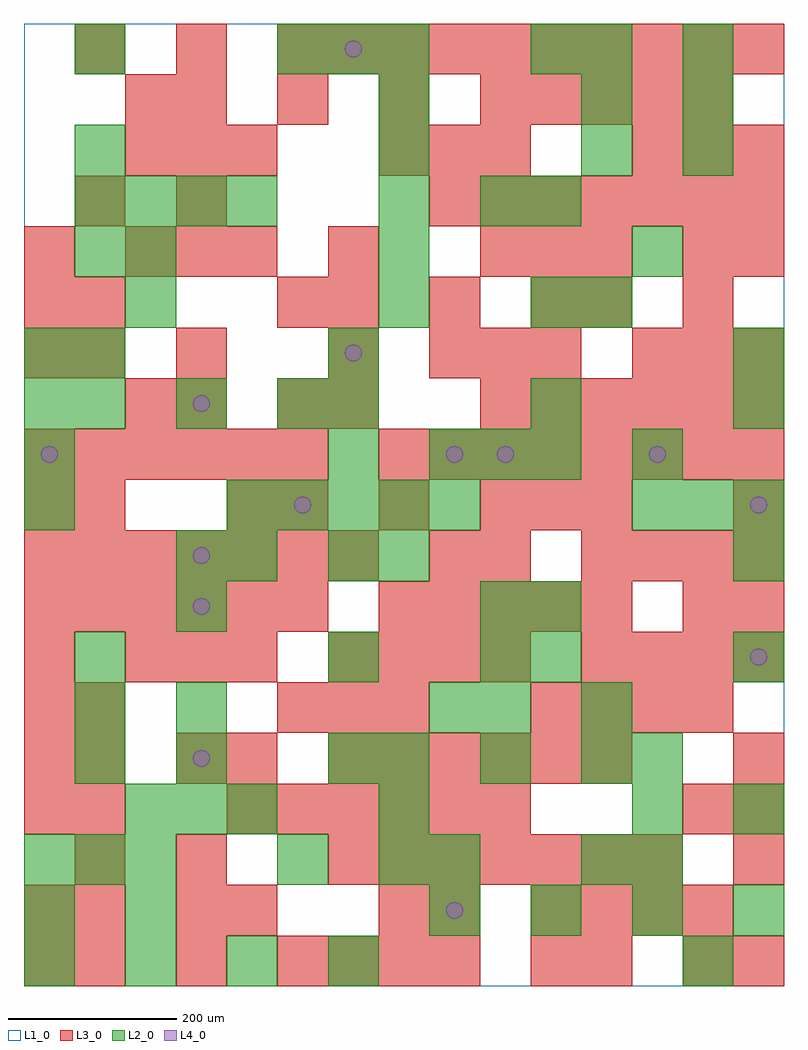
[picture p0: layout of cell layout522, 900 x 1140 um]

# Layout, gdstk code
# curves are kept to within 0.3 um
import gdstk
lib = gdstk.Library(unit=1e-6, precision=1e-09)
def R(c, l, rs):  # rectangles x0, y0, x1, y1
    for r in rs: c.add(gdstk.rectangle(r[:2], r[2:], *l))
def A(c, l, x, y, w, h, nx, ny, dx, dy):  # array of equal rectangles
    R(c, l, [(x+i*dx, y+j*dy, x+i*dx+w, y+j*dy+h) for i in range(nx) for j in range(ny)])
def P(c, l, *ps):  # polygons
    for p in ps: c.add(gdstk.Polygon(p, *l))
L1_0 = (1, 0)
L2_0 = (2, 0)
L3_0 = (3, 0)
L4_0 = (4, 0)

layout522 = lib.new_cell('layout522')
R(layout522, L1_0, [(0,0,900,1140)])
A(layout522, L2_0, 0, 0, 60, 60, 4, 1, 120, 0)
A(layout522, L2_0, 480, 60, 60, 60, 4, 1, 120, 0)
A(layout522, L2_0, 0, 120, 60, 60, 3, 1, 60, 0)
A(layout522, L2_0, 720, 120, 60, 60, 1, 3, 0, 60)
A(layout522, L2_0, 120, 180, 60, 60, 3, 1, 60, 0)
A(layout522, L2_0, 420, 180, 60, 60, 1, 3, 0, 300)
A(layout522, L2_0, 60, 240, 60, 60, 1, 3, 0, 60)
A(layout522, L2_0, 360, 240, 60, 60, 1, 5, 0, 120)
A(layout522, L2_0, 420, 240, 60, 60, 3, 1, 120, 0)
A(layout522, L2_0, 540, 300, 60, 60, 1, 3, 0, 60)
A(layout522, L2_0, 0, 540, 60, 60, 1, 4, 0, 60)
A(layout522, L2_0, 240, 540, 60, 60, 5, 1, 60, 0)
A(layout522, L2_0, 720, 540, 60, 60, 3, 1, 60, 0)
A(layout522, L2_0, 480, 600, 60, 60, 3, 1, 60, 0)
A(layout522, L2_0, 60, 660, 60, 60, 3, 1, 120, 0)
A(layout522, L2_0, 360, 660, 60, 60, 3, 1, 240, 0)
A(layout522, L2_0, 60, 720, 60, 60, 1, 4, 0, 120)
A(layout522, L2_0, 120, 840, 60, 60, 3, 1, 300, 0)
A(layout522, L2_0, 60, 900, 60, 60, 4, 1, 60, 0)
A(layout522, L2_0, 420, 900, 60, 60, 1, 3, 0, 60)
A(layout522, L2_0, 660, 960, 60, 60, 1, 3, 0, 60)
A(layout522, L2_0, 780, 960, 60, 60, 1, 3, 0, 60)
A(layout522, L2_0, 300, 1080, 60, 60, 3, 1, 60, 0)
R(layout522, L2_0, [(780,0,840,60), (0,60,60,120), (120,60,180,120), (300,120,360,180), (420,120,480,180), (480,120,540,180), (660,120,720,180), (840,180,900,240), (180,240,240,300), (180,300,240,360), (480,300,540,360), (660,300,720,360), (600,360,660,420), (840,360,900,420), (180,420,240,480), (600,420,660,480), (180,480,240,540), (240,480,300,540), (840,480,900,540), (720,600,780,660), (840,720,900,780), (120,780,180,840), (600,780,660,840), (660,780,720,840), (540,900,600,960), (600,900,660,960), (600,1080,660,1140)])
A(layout522, L3_0, 60, 0, 60, 60, 3, 2, 120, 1080)
A(layout522, L3_0, 360, 0, 60, 60, 3, 1, 60, 0)
A(layout522, L3_0, 60, 60, 60, 60, 1, 5, 0, 60)
A(layout522, L3_0, 600, 60, 60, 60, 4, 2, 60, 240)
A(layout522, L3_0, 360, 120, 60, 60, 7, 1, 60, 0)
A(layout522, L3_0, 840, 120, 60, 60, 1, 3, 0, 60)
A(layout522, L3_0, 0, 180, 60, 60, 1, 4, 0, 60)
A(layout522, L3_0, 240, 180, 60, 60, 6, 1, 60, 0)
A(layout522, L3_0, 360, 240, 60, 60, 6, 1, 60, 0)
A(layout522, L3_0, 300, 300, 60, 60, 3, 1, 60, 0)
A(layout522, L3_0, 120, 360, 60, 60, 3, 2, 60, 480)
A(layout522, L3_0, 360, 360, 60, 60, 4, 1, 60, 0)
A(layout522, L3_0, 660, 360, 60, 60, 4, 2, 60, 120)
A(layout522, L3_0, 0, 420, 60, 60, 6, 2, 60, 180)
A(layout522, L3_0, 420, 420, 60, 60, 5, 1, 60, 0)
A(layout522, L3_0, 0, 480, 60, 60, 7, 1, 60, 0)
A(layout522, L3_0, 300, 540, 60, 60, 3, 1, 120, 0)
A(layout522, L3_0, 420, 600, 60, 60, 8, 1, 60, 0)
A(layout522, L3_0, 540, 660, 60, 60, 6, 1, 60, 0)
A(layout522, L3_0, 0, 720, 60, 60, 1, 3, 0, 60)
A(layout522, L3_0, 480, 720, 60, 60, 3, 1, 60, 0)
A(layout522, L3_0, 720, 720, 60, 60, 3, 2, 60, 240)
A(layout522, L3_0, 360, 780, 60, 60, 3, 1, 120, 0)
A(layout522, L3_0, 540, 840, 60, 60, 3, 1, 60, 0)
A(layout522, L3_0, 480, 900, 60, 60, 7, 1, 60, 0)
A(layout522, L3_0, 120, 960, 60, 60, 3, 1, 60, 0)
A(layout522, L3_0, 420, 960, 60, 60, 3, 1, 60, 0)
A(layout522, L3_0, 180, 1020, 60, 60, 4, 1, 120, 0)
A(layout522, L3_0, 600, 1020, 60, 60, 4, 1, 60, 0)
A(layout522, L3_0, 360, 1080, 60, 60, 9, 1, 60, 0)
R(layout522, L3_0, [(0,0,60,60), (600,0,660,60), (660,0,720,60), (780,0,840,60), (840,0,900,60), (0,60,60,120), (180,60,240,120), (240,60,300,120), (420,60,480,120), (480,60,540,120), (180,120,240,180), (780,180,840,240), (180,240,240,300), (240,240,300,300), (780,420,840,480), (840,420,900,480), (480,480,540,540), (540,480,600,540), (0,540,60,600), (60,540,120,600), (240,540,300,600), (600,540,660,600), (660,540,720,600), (840,540,900,600), (120,660,180,720), (180,660,240,720), (300,660,360,720), (360,660,420,720), (60,720,120,780), (180,720,240,780), (360,720,420,780), (60,780,120,840), (300,780,360,840), (660,780,720,840), (780,780,840,840), (360,840,420,900), (780,840,840,900), (840,840,900,900), (60,900,120,960), (180,900,240,960), (120,1020,180,1080)])
P(layout522, L4_0, [(40,630),(39.239,633.827),(37.071,637.071),(33.827,639.239),(30,640),(26.173,639.239),(22.929,637.071),(20.761,633.827),(20,630),(20.761,626.173),(22.929,622.929),(26.173,620.761),(30,620),(33.827,620.761),(37.071,622.929),(39.239,626.173)],
  [(220,270),(219.239,273.827),(217.071,277.071),(213.827,279.239),(210,280),(206.173,279.239),(202.929,277.071),(200.761,273.827),(200,270),(200.761,266.173),(202.929,262.929),(206.173,260.761),(210,260),(213.827,260.761),(217.071,262.929),(219.239,266.173)],
  [(220,450),(219.239,453.827),(217.071,457.071),(213.827,459.239),(210,460),(206.173,459.239),(202.929,457.071),(200.761,453.827),(200,450),(200.761,446.173),(202.929,442.929),(206.173,440.761),(210,440),(213.827,440.761),(217.071,442.929),(219.239,446.173)],
  [(220,510),(219.239,513.827),(217.071,517.071),(213.827,519.239),(210,520),(206.173,519.239),(202.929,517.071),(200.761,513.827),(200,510),(200.761,506.173),(202.929,502.929),(206.173,500.761),(210,500),(213.827,500.761),(217.071,502.929),(219.239,506.173)],
  [(220,690),(219.239,693.827),(217.071,697.071),(213.827,699.239),(210,700),(206.173,699.239),(202.929,697.071),(200.761,693.827),(200,690),(200.761,686.173),(202.929,682.929),(206.173,680.761),(210,680),(213.827,680.761),(217.071,682.929),(219.239,686.173)],
  [(340,570),(339.239,573.827),(337.071,577.071),(333.827,579.239),(330,580),(326.173,579.239),(322.929,577.071),(320.761,573.827),(320,570),(320.761,566.173),(322.929,562.929),(326.173,560.761),(330,560),(333.827,560.761),(337.071,562.929),(339.239,566.173)],
  [(400,750),(399.239,753.827),(397.071,757.071),(393.827,759.239),(390,760),(386.173,759.239),(382.929,757.071),(380.761,753.827),(380,750),(380.761,746.173),(382.929,742.929),(386.173,740.761),(390,740),(393.827,740.761),(397.071,742.929),(399.239,746.173)],
  [(400,1110),(399.239,1113.827),(397.071,1117.071),(393.827,1119.239),(390,1120),(386.173,1119.239),(382.929,1117.071),(380.761,1113.827),(380,1110),(380.761,1106.173),(382.929,1102.929),(386.173,1100.761),(390,1100),(393.827,1100.761),(397.071,1102.929),(399.239,1106.173)],
  [(520,90),(519.239,93.827),(517.071,97.071),(513.827,99.239),(510,100),(506.173,99.239),(502.929,97.071),(500.761,93.827),(500,90),(500.761,86.173),(502.929,82.929),(506.173,80.761),(510,80),(513.827,80.761),(517.071,82.929),(519.239,86.173)],
  [(520,630),(519.239,633.827),(517.071,637.071),(513.827,639.239),(510,640),(506.173,639.239),(502.929,637.071),(500.761,633.827),(500,630),(500.761,626.173),(502.929,622.929),(506.173,620.761),(510,620),(513.827,620.761),(517.071,622.929),(519.239,626.173)],
  [(580,630),(579.239,633.827),(577.071,637.071),(573.827,639.239),(570,640),(566.173,639.239),(562.929,637.071),(560.761,633.827),(560,630),(560.761,626.173),(562.929,622.929),(566.173,620.761),(570,620),(573.827,620.761),(577.071,622.929),(579.239,626.173)],
  [(760,630),(759.239,633.827),(757.071,637.071),(753.827,639.239),(750,640),(746.173,639.239),(742.929,637.071),(740.761,633.827),(740,630),(740.761,626.173),(742.929,622.929),(746.173,620.761),(750,620),(753.827,620.761),(757.071,622.929),(759.239,626.173)],
  [(880,390),(879.239,393.827),(877.071,397.071),(873.827,399.239),(870,400),(866.173,399.239),(862.929,397.071),(860.761,393.827),(860,390),(860.761,386.173),(862.929,382.929),(866.173,380.761),(870,380),(873.827,380.761),(877.071,382.929),(879.239,386.173)],
  [(880,570),(879.239,573.827),(877.071,577.071),(873.827,579.239),(870,580),(866.173,579.239),(862.929,577.071),(860.761,573.827),(860,570),(860.761,566.173),(862.929,562.929),(866.173,560.761),(870,560),(873.827,560.761),(877.071,562.929),(879.239,566.173)])

lib.write_gds('layout522.gds')
